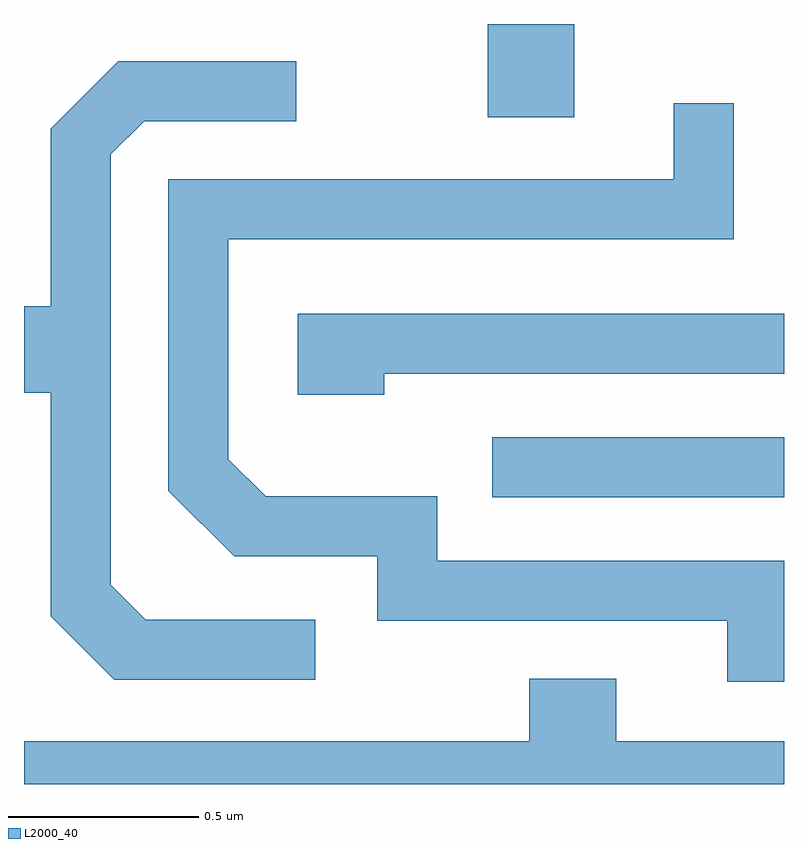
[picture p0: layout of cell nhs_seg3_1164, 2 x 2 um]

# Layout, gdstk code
import gdstk
lib = gdstk.Library(unit=1e-6, precision=1e-09)
def R(c, l, rs):  # rectangles x0, y0, x1, y1
    for r in rs: c.add(gdstk.rectangle(r[:2], r[2:], *l))
def P(c, l, *ps):  # polygons
    for p in ps: c.add(gdstk.Polygon(p, *l))
L2000_40 = (2000, 40)

nhs_seg3_1164 = lib.new_cell('nhs_seg3_1164')
R(nhs_seg3_1164, L2000_40, [(194.843,1184.646,195.611,1184.804), (194.831,1185.646,195.059,1185.892)])
P(nhs_seg3_1164, L2000_40, [(194.378,1184.324),(193.932,1184.324),(193.839,1184.417),(193.839,1185.549),(193.927,1185.636),(194.328,1185.636),(194.328,1185.794),(193.859,1185.794),(193.681,1185.617),(193.681,1185.149),(193.611,1185.149),(193.611,1184.921),(193.681,1184.921),(193.681,1184.334),(193.849,1184.166),(194.378,1184.166)],
  [(195.611,1184.479),(194.699,1184.479),(194.699,1184.649),(194.247,1184.649),(194.149,1184.747),(194.149,1185.326),(195.479,1185.326),(195.479,1185.683),(195.321,1185.683),(195.321,1185.484),(193.991,1185.484),(193.991,1184.664),(194.164,1184.491),(194.541,1184.491),(194.541,1184.321),(195.461,1184.321),(195.461,1184.161),(195.611,1184.161)],
  [(194.559,1184.971),(195.611,1184.971),(195.611,1185.129),(194.331,1185.129),(194.331,1184.916),(194.559,1184.916)],
  [(195.611,1184.004),(195.169,1184.004),(195.169,1184.169),(194.941,1184.169),(194.941,1184.004),(193.611,1184.004),(193.611,1183.892),(195.611,1183.892)])

lib.write_gds('nhs_seg3_1164.gds')
